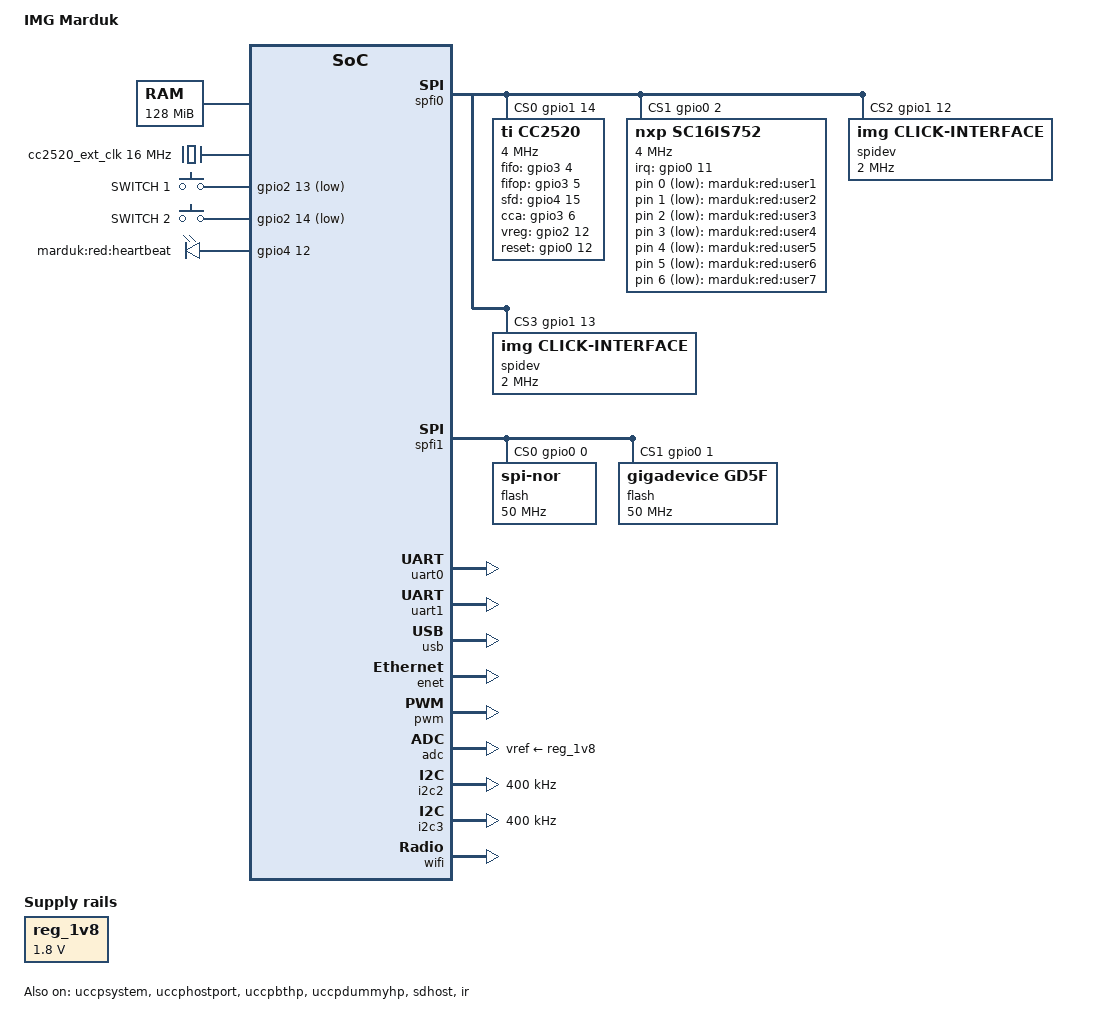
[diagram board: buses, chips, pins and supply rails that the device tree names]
/*
 * Copyright (C) 2015 Imagination Technologies Ltd.
 * Copyright (C) 2015 Google, Inc.
 *
 * This program is free software; you can redistribute it and/or modify
 * it under the terms of the GNU General Public License version 2 as
 * published by the Free Software Foundation.
 */

/dts-v1/;

#include "pistachio.dtsi"
#include <dt-bindings/sound/pistachio-audio.h>
#include "pistachio_board_uboot.dtsi"

/ {
	model = "IMG Marduk";
	compatible = "img,pistachio-marduk", "img,pistachio";

	aliases {
		serial0 = &uart0;
		serial1 = &uart1;
		ethernet0 = &enet;
	};

	chosen {
		bootargs = "console=ttyS1,115200n8 earlycon=uart8250,mmio32,0x18101500,115200 root=/dev/sda1 rootwait ro";
	};

	memory {
		device_type = "memory";
		reg =  <0x00000000 0x08000000>;
	};

	reg_1v8: fixed-regulator {
		compatible = "regulator-fixed";
		regulator-name = "aux_adc_vref";
		regulator-min-microvolt = <1800000>;
		regulator-max-microvolt = <1800000>;
		regulator-boot-on;
	};

	pistachio_audio_card {
			compatible = "img,pistachio-audio";

			clocks = <&clk_core CLK_AUDIO_PLL>,
				 <&clk_core CLK_I2S>,
				 <&clk_core CLK_AUDIO>;
			clock-names = "audio_pll", "i2s_mclk", "dac_clk";

			img,cr-periph = <&cr_periph>;

			pinctrl-names = "default";
			pinctrl-0 = <&dac_clk_pin>, <&i2s_mclk_pin>;

			spdif-out {
				cpu-dai = <&spdif_out>;
			};

			spdif-in {
				cpu-dai = <&spdif_in>;
			};

			parallel-out {
				cpu-dai = <&parallel_out>;
				sound-dai = <&internal_dac>;
			};

			i2s-out {
				cpu-dai = <&i2s_out>;
				format = "i2s";
			};

			i2s-in {
				cpu-dai = <&i2s_in>;
				format = "i2s";

				ak5720vt {
					mclk = <PISTACHIO_MCLK_I2S>;
					mclk-fs = <256>;
					mclk-min-freq = <8192000>;
					mclk-max-freq = <24576000>;
				};
			};
		};

	/* EXT clock from cc2520 is fed to sc16is752 */
	cc2520_ext_clk: cc2520-ext-clk {
		compatible = "fixed-clock";
		#clock-cells = <0>;
		clock-frequency = <16000000>;
		clock-output-names = "cc2520_ext_clock";
	};

	gpio_keys {
		compatible = "gpio-keys";
		switch@1 {
			label = "SWITCH 1";
			linux,code = <0x101>; /* BTN_1 */
			gpios = <&gpio2 13 GPIO_ACTIVE_LOW>;
		};
		switch@2 {
			label = "SWITCH 2";
			linux,code = <0x102>; /* BTN_2 */
			gpios = <&gpio2 14 GPIO_ACTIVE_LOW>;
		};
	};

	gpio_leds {
		compatible = "gpio-leds";
		user1 {
			label = "marduk:red:user1";
			gpios = <&sc16is752 0 GPIO_ACTIVE_LOW>;
		};
		user2 {
			label = "marduk:red:user2";
			gpios = <&sc16is752 1 GPIO_ACTIVE_LOW>;
		};
		user3 {
			label = "marduk:red:user3";
			gpios = <&sc16is752 2 GPIO_ACTIVE_LOW>;
		};
		user4 {
			label = "marduk:red:user4";
			gpios = <&sc16is752 3 GPIO_ACTIVE_LOW>;
		};
		user5 {
			label = "marduk:red:user5";
			gpios = <&sc16is752 4 GPIO_ACTIVE_LOW>;
		};
		user6 {
			label = "marduk:red:user6";
			gpios = <&sc16is752 5 GPIO_ACTIVE_LOW>;
		};
		user7 {
			label = "marduk:red:user7";
			gpios = <&sc16is752 6 GPIO_ACTIVE_LOW>;
		};
		heartbeat {
			label = "marduk:red:heartbeat";
			gpios = <&gpio4 12 GPIO_ACTIVE_HIGH>;
			linux,default-trigger = "heartbeat";
		};
	};
};

&spim0_clk {
	drive-strength = <2>;
};

&spfi0 {
	status = "okay";
	pinctrl-0 = <&spim0_pins>;
	pinctrl-names = "default";

	cs-gpios = <&gpio1 14 GPIO_ACTIVE_HIGH>, <&gpio0 2 GPIO_ACTIVE_HIGH>,
			<&gpio1 12 GPIO_ACTIVE_HIGH>, <&gpio1 13 GPIO_ACTIVE_HIGH>;

	cc2520: cc2520@0 {
		compatible = "ti,cc2520";
		reg = <0>;
		spi-max-frequency = <4000000>;
		fifo-gpio = <&gpio3 4 GPIO_ACTIVE_HIGH>;
		fifop-gpio = <&gpio3 5 GPIO_ACTIVE_HIGH>;
		sfd-gpio = <&gpio4 15 GPIO_ACTIVE_HIGH>;
		cca-gpio = <&gpio3 6 GPIO_ACTIVE_HIGH>;
		vreg-gpio = <&gpio2 12 GPIO_ACTIVE_HIGH>;
		reset-gpio = <&gpio0 12 GPIO_ACTIVE_HIGH>;
		#clock-cells = <0>;
		extclock-freq = <16000000>;
	};

	sc16is752: sc16is752@1 {
		compatible = "nxp,sc16is752";
		reg = <1>;
		clocks = <&cc2520 0>;
		spi-max-frequency = <4000000>;
		interrupt-parent = <&gpio0>;
		interrupts = <11 IRQ_TYPE_EDGE_FALLING>;
		gpio-controller;
		#gpio-cells = <2>;
	};

	spidev@2 {
		compatible = "img,click-interface";
		reg = <2>;
		spi-max-frequency = <2000000>;
	};

	spidev@3 {
		compatible = "img,click-interface";
		reg = <3>;
		spi-max-frequency = <2000000>;
	};
};

&spfi1 {
	status = "okay";

	pinctrl-0 = <&spim1_pins>, <&spim1_quad_pins>;
	pinctrl-names = "default";
	cs-gpios = <&gpio0 0 GPIO_ACTIVE_HIGH>, <&gpio0 1 GPIO_ACTIVE_HIGH>;

	flash@0 {
		compatible = "jedec,spi-nor";
		reg = <0>;
		spi-max-frequency = <50000000>;
		linux,mtd-name = "spi-nor";
	};

	flash@1 {
		compatible = "gigadevice,gd5f";
		reg = <1>;
		spi-max-frequency = <50000000>;
		nand-on-flash-bbt;
		spi-rx-bus-width = <2>;
		#address-cells = <1>;
		#size-cells = <1>;
		linux,mtd-name = "spi-nand";
	};
};

&uccpsystem {
	status = "okay";
};

&uccphostport {
	status = "okay";
};

&uccpbthp {
	status = "okay";
};

&uccpdummyhp {
	status = "okay";
};

&uart0 {
	status = "okay";
	assigned-clock-rates = <114278400>, <1843200>;
};

&uart1 {
	status = "okay";
};

&usb {
	status = "okay";
};

&usb_phy {
	pinctrl-names = "default";
	pinctrl-0 = <&usb_pwr_on_pins>;
	enable-vbus-drive;
};

&enet {
	status = "okay";

	mac-address = [0123456789AB];
};

&pin_enet_phy_clk {
	drive-strength = <2>;
};

&sdhost {
	status = "okay";
	bus-width = <4>;
	disable-wp;
};

&ir {
	status = "okay";
};

&pwm {
	status = "okay";

	pinctrl-0 = <&pwmpdm0_pin>, <&pwmpdm1_pin>, <&pwmpdm2_pin>,
		    <&pwmpdm3_pin>;
	pinctrl-names = "default";
};

&adc {
	status = "okay";
	vref-supply = <&reg_1v8>;
	adc-reserved-channels = <0x10>;
};

&i2c2 {
	status = "okay";
	clock-frequency = <400000>;
};

&i2c3 {
	status = "okay";
	clock-frequency = <400000>;
};

&wifi {
       status = "okay";
       mac-address0 = [0123456789AC];
       mac-address1 = [0123456789AD];
       rf-params = [1A1c1f24292e33383c4045484d5157595d6165686d712023263d3135393c41454a4d505356595c5f6164672023282c3135393d4145494d53565a5e626567696c1c20252b3134373c4144484d52555a5e62666a6f742023282c31363a3e4245494e51575b5f63666b71761c1f24292e33383c4045494d5155585b5e62666a6f1e22262d3135393d42464b4e52575a5c6064676b702023282c3135393d4145494d5356595b5e606366692023272a31363b3f44484c5054575a5e6165696d711f2225292f33383c4043474c5054595d6165696d730B0B0B0B0B0B0B0B0B0B0B0B0B0B0B0B0B0B0B0B0B0B0B0B0B0B0B0B0B0B0B0B0B0B0B0B0B0B0B0B0B0B0B0B0B0B0B0B0B0B0B0B0B0B0B0B0B0B0B0B0B0B0B0B0B0B0B0B0B0B0B0B0B0B0B0B0B0B0B0B0B0B0B0B0B0B0B0B0B0B0B0B0B0B0B0B0B0B0B0B0B0B0B0B0B0B0B0B0B0B0B0B0B0B0B0B0B0B0B0B0B0B0B0B0B0B0B0B0B0B0B0B0B0B0B0B0B0B0B0B0B0B0B0B0B0B0B0B0B0B0B0B0B0B0B0B0B0B];
       num_streams = [02];
};

&i2s_out {
	status = "okay";
	pinctrl-names = "default";
	pinctrl-0 = <&i2s_out_pins>;
};

&i2s_in {
	status = "okay";
	pinctrl-names = "default";
	pinctrl-0 = <&i2s_in_pins>;
};

&i2s_out_pins {
	i2s-out {
		pins = "mfio37", "mfio38", "mfio39",
		       "mfio40", "mfio41";
		function = "i2s_out";
	};
};

&i2s_in_pins {
	i2s-in {
		pins = "mfio47", "mfio48", "mfio49",
		       "mfio50", "mfio51";
		function = "i2s_in";
	};
};

&spdif_out {
	status = "okay";
};

&spdif_in {
	status = "okay";
};

&parallel_out {
	status = "okay";
};
